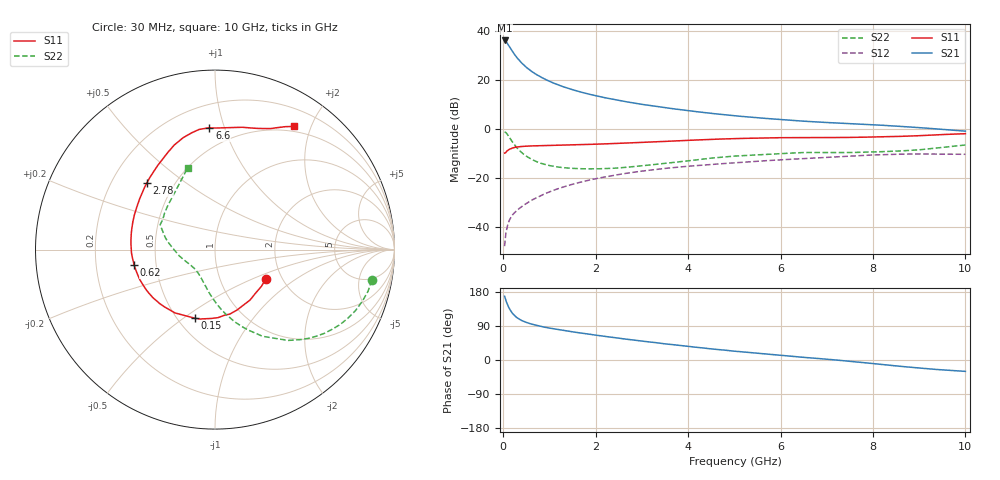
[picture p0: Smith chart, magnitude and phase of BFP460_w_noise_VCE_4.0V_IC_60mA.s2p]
! (c) 2016  Infineon Technologies AG, Munich
! Infineon Technologies  Discrete & RF Semiconductors
! BFP460
! VCE =  4.0 V,  IC =  60 mA
! Common Emitter S-Parameters:  Jan 2016
# GHz  S  MA  R  50
!  f  S11  S21  S12  S22
! GHz  MAG  ANG  MAG  ANG  MAG  ANG  MAG  ANG
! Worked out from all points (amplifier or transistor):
!   229 points, 30 MHz to 10 GHz, reference 50 ohm
!   highest |S21| = 36.3 dB at 30 MHz (marker M1)
!   |S21| within 3 dB of that: start of sweep to 149.6 MHz
!   unconditionally stable (mu >= 1): 1.063 GHz to 7.327 GHz
!   at 280 MHz: K = 0.66, MSG = 31.6 dB, |S12| = -33.4 dB
!   at 1.78 GHz: K = 1.04, MAG = 16.8 dB, |S12| = -21.1 dB
!   at 10 GHz: K = 0.96, MSG = 4.7 dB, |S12| = -10.2 dB
!   lowest NFmin = 1.86 dB at 3.5 GHz
!   S11 on the Smith chart (normalised r, x): 30 MHz: 1.66, -0.60; 150 MHz: 0.61, -0.55; 620 MHz: 0.37, -0.08; 2.78 GHz: 0.35, +0.36; 6.6 GHz: 0.36, +0.89; 10 GHz: 0.43, +1.75
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0.03  0.3266 -29.6  65.55 168.1  0.0041 85.7  0.8905 -11.0
0.05  0.3316 -47.0  62.99 160.1  0.0065 77.6  0.8699 -19.3
0.07  0.3478 -63.4  60.35 153.0  0.0087 72.9  0.834 -27.2
0.09  0.3683 -76.8  56.87 146.7  0.0106 70.3  0.789 -34.3
0.12  0.3843 -93.2  51.48 138.5  0.013 66.1  0.718 -43.5
0.15  0.3986 -106.3  46.33 131.6  0.015 63.7  0.6493 -51.2
0.2  0.4173 -122.3  39.13 122.9  0.0178 61.0  0.5514 -61.2
0.26  0.4301 -135.3  32.49 115.4  0.0204 60.3  0.4631 -69.8
0.3  0.4373 -142.0  28.96 111.4  0.0222 60.3  0.4162 -74.9
0.36  0.4438 -149.7  24.88 106.8  0.0247 60.7  0.3631 -80.6
0.42  0.4482 -155.7  21.74 103.1  0.0272 61.6  0.3231 -85.5
0.62  0.4587 -169.4  15.19 94.5  0.0358 63.8  0.2424 -97.8
0.8  0.4656 -177.6  11.88 89.0  0.0438 64.8  0.2049 -106.1
1  0.4702 175.3  9.583 84.2  0.0527 65.2  0.1819 -113.5
1.7  0.4885 157.1  5.71 70.8  0.0846 62.4  0.1566 -131.6
2.78  0.5311 135.7  3.507 53.1  0.1313 53.9  0.1719 -156.0
3.4  0.5612 125.7  2.859 44.2  0.1552 48.2  0.1971 -168.1
5.1  0.651 105.0  1.86 22.3  0.2102 34.6  0.2874 165.7
6.6  0.6781 92.6  1.45 6.1  0.2551 23.1  0.3356 155.3
6.8  0.6775 90.8  1.414 4.1  0.2611 21.7  0.3355 154.6
8.4  0.7101 72.3  1.181 -14.4  0.3081 7.2  0.3556 139.0
10  0.8152 57.3  0.918 -30.0  0.309 -5.5  0.4791 108.5
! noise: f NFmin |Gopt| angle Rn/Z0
0.45  2.02  0.36  -170  0.13
0.9  2.06  0.34  -160  0.14
1.9  2.16  0.44  -139  0.17
3.5  1.86  0.7  -115  0.32
